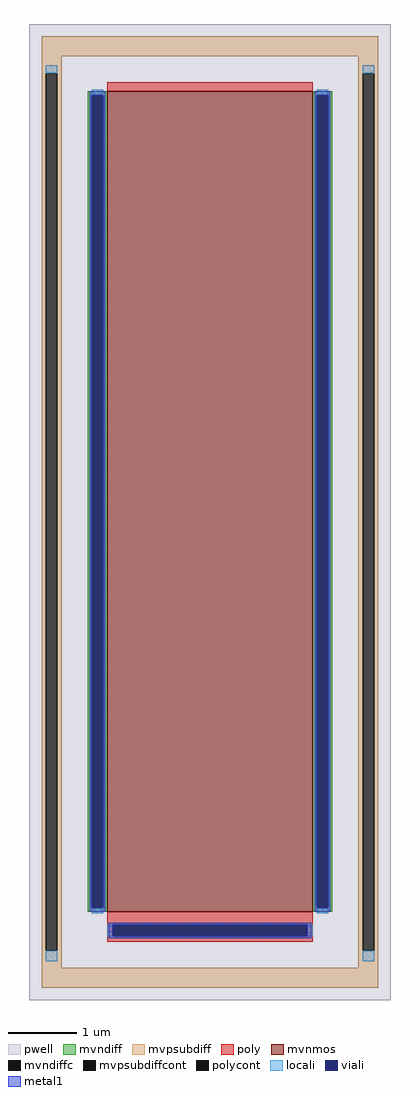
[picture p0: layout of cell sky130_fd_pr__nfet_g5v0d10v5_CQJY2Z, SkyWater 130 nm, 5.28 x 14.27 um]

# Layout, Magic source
magic
tech sky130A
magscale 1 2
<< pwell >>
rect -528 -1427 528 1427
<< mvnmos >>
rect -300 -1169 300 1231
<< mvndiff >>
rect -358 1219 -300 1231
rect -358 -1157 -346 1219
rect -312 -1157 -300 1219
rect -358 -1169 -300 -1157
rect 300 1219 358 1231
rect 300 -1157 312 1219
rect 346 -1157 358 1219
rect 300 -1169 358 -1157
<< mvndiffc >>
rect -346 -1157 -312 1219
rect 312 -1157 346 1219
<< mvpsubdiff >>
rect -492 1333 492 1391
rect -492 1283 -434 1333
rect -492 -1283 -480 1283
rect -446 -1283 -434 1283
rect 434 1283 492 1333
rect -492 -1333 -434 -1283
rect 434 -1283 446 1283
rect 480 -1283 492 1283
rect 434 -1333 492 -1283
rect -492 -1391 492 -1333
<< mvpsubdiffcont >>
rect -480 -1283 -446 1283
rect 446 -1283 480 1283
<< poly >>
rect -300 1231 300 1257
rect -300 -1207 300 -1169
rect -300 -1241 -284 -1207
rect 284 -1241 300 -1207
rect -300 -1257 300 -1241
<< polycont >>
rect -284 -1241 284 -1207
<< locali >>
rect -480 1283 -446 1307
rect 446 1283 480 1307
rect -346 1219 -312 1235
rect -346 -1173 -312 -1157
rect 312 1219 346 1235
rect 312 -1173 346 -1157
rect -300 -1241 -284 -1207
rect 284 -1241 300 -1207
rect -480 -1313 -446 -1283
rect 446 -1313 480 -1283
<< viali >>
rect -346 -1157 -312 1219
rect 312 -1157 346 1219
rect -284 -1241 284 -1207
<< metal1 >>
rect -352 1219 -306 1231
rect -352 -1157 -346 1219
rect -312 -1157 -306 1219
rect -352 -1169 -306 -1157
rect 306 1219 352 1231
rect 306 -1157 312 1219
rect 346 -1157 352 1219
rect 306 -1169 352 -1157
rect -296 -1207 296 -1201
rect -296 -1241 -284 -1207
rect 284 -1241 296 -1207
rect -296 -1247 296 -1241
<< properties >>
string FIXED_BBOX -463 -1362 463 1362
string gencell sky130_fd_pr__nfet_g5v0d10v5
string library sky130
string parameters w 12 l 3 m 1 nf 1 diffcov 100 polycov 100 guard 1 glc 1 grc 1 gtc 0 gbc 0 tbcov 100 rlcov 100 topc 0 botc 1 poverlap 0 doverlap 1 lmin 0.50 wmin 0.42 compatible {sky130_fd_pr__nfet_01v8 sky130_fd_pr__nfet_01v8_lvt  sky130_fd_bs_flash__special_sonosfet_star  sky130_fd_pr__nfet_g5v0d10v5 sky130_fd_pr__nfet_05v0_nvt  sky130_fd_pr__nfet_03v3_nvt} full_metal 1 viasrc 100 viadrn 100 viagate 100 viagb 0 viagr 0 viagl 0 viagt 0
<< end >>
